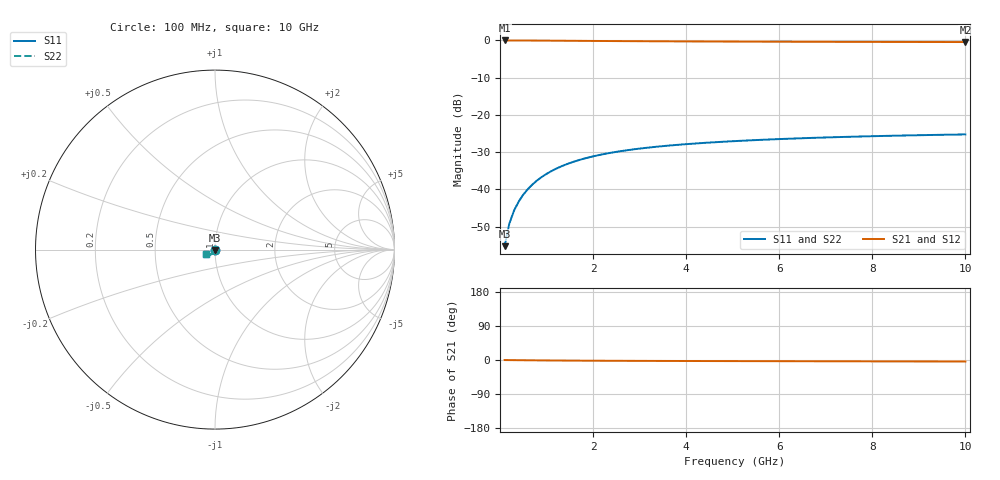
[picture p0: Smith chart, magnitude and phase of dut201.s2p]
! Touchstone file exported from HFSS 2024.1.0
!  File:  C:/UserFiles/LocalFiles/RDL_TSV_Batchsim/temp_TSV1_201_1778757255.aedt
!  Generated:  07:18:18 PM May 14, 2026
!  Design:  TSV1
!  Project:  temp_TSV1_201_1778757255
!  Setup:  Setup1
!  Solution:  Sweep
! Variables:
!  dtsv = 19.52um
!  hbump = 3um
!  htsv = 52.82um
!  lrdl = 252.1521522um
!  p = 40
!  p1 = 54.68um
!  t = 500um
!  trdl = 3um
!  wrdl = 24.89489489um
# GHz S MA R 50.000000
! Terminal data exported
! Port[1] = TSV22_T1
! Port[2] = TSV22_T2
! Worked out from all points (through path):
!   100 points, 100 MHz to 10 GHz, reference 50 ohm
!   highest |S21| = 0.00 dB at 100 MHz (marker M1); lowest = -0.4 dB at 10 GHz (marker M2)
!   lowest |S11| = -55.3 dB at 100 MHz (marker M3), VSWR 1.00, Z = 50 - j0.172 ohm
!   |S11| at or under -10 dB: start of sweep to end of sweep
!   |S22| runs from -55.3 to -25.2 dB; largest |S21 - S12| = 2.1e-15
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0.1  0.001722 -90.0  0.9999 -0.1  0.9999 -0.1  0.001722 -90.0
! Gamma 0 0 0 0
! Port Impedance 50 0 50 0
0.2  0.003435 -92.9  0.9997 -0.3  0.9997 -0.3  0.003435 -92.9
0.3  0.005134 -95.2  0.9994 -0.4  0.9994 -0.4  0.005134 -95.2
0.4  0.006811 -97.2  0.999 -0.5  0.999 -0.5  0.006811 -97.2
0.5  0.00846 -99.2  0.9984 -0.6  0.9984 -0.6  0.00846 -99.2
0.6  0.01008 -101.1  0.9978 -0.7  0.9978 -0.7  0.01008 -101.1
0.7  0.01165 -103.0  0.9971 -0.8  0.9971 -0.8  0.01165 -103.0
0.8  0.01318 -104.8  0.9964 -1.0  0.9964 -1.0  0.01318 -104.8
0.9  0.01467 -106.5  0.9955 -1.1  0.9955 -1.1  0.01467 -106.5
1.1  0.0175 -109.8  0.9937 -1.2  0.9937 -1.2  0.0175 -109.8
1.4  0.02135 -114.4  0.9909 -1.5  0.9909 -1.5  0.02135 -114.4
1.6  0.02366 -117.1  0.9889 -1.6  0.9889 -1.6  0.02366 -117.1
1.8  0.02577 -119.6  0.987 -1.8  0.987 -1.8  0.02577 -119.6
2.1  0.02861 -123.0  0.9842 -1.9  0.9842 -1.9  0.02861 -123.0
2.5  0.03186 -126.9  0.9808 -2.1  0.9808 -2.1  0.03186 -126.9
2.9  0.03461 -130.1  0.9777 -2.3  0.9777 -2.3  0.03461 -130.1
3.4  0.03751 -133.5  0.9742 -2.5  0.9742 -2.5  0.03751 -133.5
4.2  0.04127 -137.6  0.9696 -2.7  0.9696 -2.7  0.04127 -137.6
5.1  0.04461 -141.2  0.9652 -2.9  0.9652 -2.9  0.04461 -141.2
6.7  0.04905 -145.8  0.9594 -3.3  0.9594 -3.3  0.04905 -145.8
8.4  0.05239 -149.4  0.955 -3.7  0.955 -3.7  0.05239 -149.4
10  0.05465 -151.8  0.9519 -4.1  0.9519 -4.1  0.05465 -151.8
